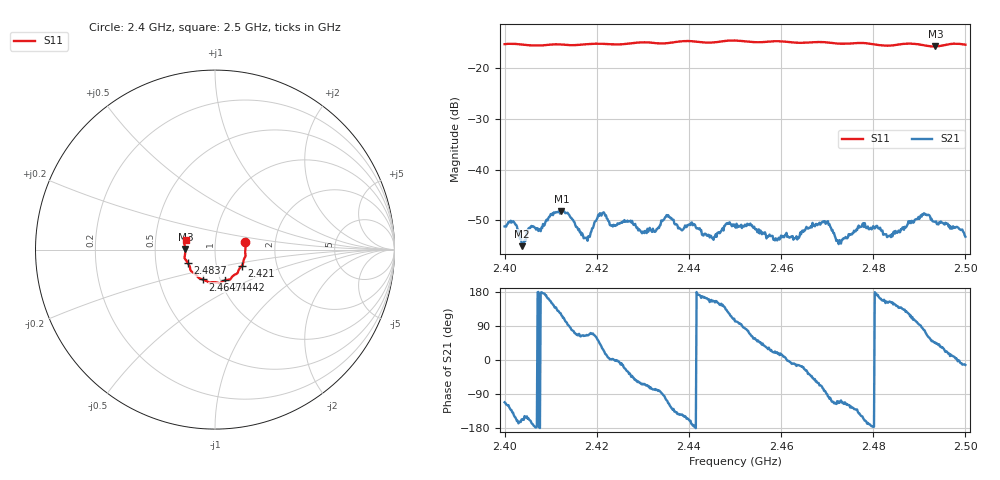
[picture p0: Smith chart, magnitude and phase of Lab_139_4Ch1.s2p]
# Hz S RI R 50
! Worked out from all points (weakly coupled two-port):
!   601 points, 2.4 GHz to 2.5 GHz, reference 50 ohm
!   highest |S21| = -48.14 dB at 2.4123 GHz (marker M1); lowest = -55.1 dB at 2.4038 GHz (marker M2)
!   lowest |S11| = -15.6 dB at 2.4935 GHz (marker M3), VSWR 1.40, Z = 35.8 + j0.2 ohm
!   |S11| at or under -10 dB: start of sweep to end of sweep
!   S12 and S22 are empty: the file has one direction only
!   S11 on the Smith chart (normalised r, x): 2.4 GHz: 1.40, +0.12; 2.421 GHz: 1.33, -0.24; 2.4442 GHz: 1.05, -0.37; 2.4647 GHz: 0.83, -0.28; 2.4837 GHz: 0.73, -0.11; 2.5 GHz: 0.71, +0.08
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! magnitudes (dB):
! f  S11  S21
! 2.4 GHz  -15.2  -51.2
! 2.4022 GHz  -15.1  -50.5
! 2.4038 GHz  -15.3  -55.1
! 2.4123 GHz  -15.2  -48.1
! 2.4167 GHz  -15.3  -52.9
! 2.4182 GHz  -15.2  -53.1
! 2.421 GHz  -15.1  -49.1
! 2.4333 GHz  -15.0  -51.4
! 2.4353 GHz  -15.0  -49.2
! 2.4442 GHz  -14.9  -52.8
! 2.45 GHz  -14.5  -51.2
! 2.4588 GHz  -14.6  -53.5
! 2.4647 GHz  -14.9  -52.0
! 2.4667 GHz  -14.8  -51.4
! 2.47 GHz  -14.9  -50.2
! 2.4725 GHz  -15.1  -54.7
! 2.4777 GHz  -15.0  -50.7
! 2.4833 GHz  -15.5  -53.1
! 2.4837 GHz  -15.5  -53.0
! 2.4908 GHz  -15.4  -48.9
! 2.4935 GHz  -15.6  -50.3
! 2.5 GHz  -15.3  -53.2
